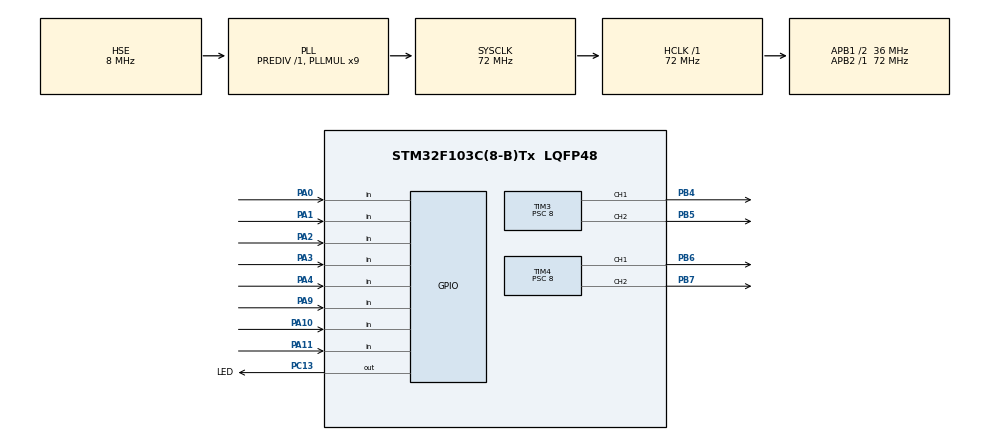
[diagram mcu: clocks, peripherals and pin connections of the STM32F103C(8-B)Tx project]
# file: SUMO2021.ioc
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Mcu.Family=STM32F1
Mcu.Name=STM32F103C(8-B)Tx
Mcu.Package=LQFP48
NVIC.PriorityGroup=NVIC_PRIORITYGROUP_4
NVIC.TIM2_IRQn=true\:0\:0\:false\:false\:true\:true\:true
PA0-WKUP.GPIO_PuPd=GPIO_PULLDOWN
PA0-WKUP.Signal=GPIO_Input
PA1.Signal=GPIO_Input
PA10.GPIO_PuPd=GPIO_NOPULL
PA10.Signal=GPIO_Input
PA11.GPIO_PuPd=GPIO_NOPULL
PA11.Signal=GPIO_Input
PA13.Mode=Serial_Wire
PA13.Signal=SYS_JTMS-SWDIO
PA14.Mode=Serial_Wire
PA14.Signal=SYS_JTCK-SWCLK
PA2.Signal=GPIO_Input
PA3.Signal=GPIO_Input
PA4.Signal=GPIO_Input
PA9.GPIO_PuPd=GPIO_NOPULL
PA9.Signal=GPIO_Input
PB4.Signal=S_TIM3_CH1
PB5.Signal=S_TIM3_CH2
PB6.Signal=S_TIM4_CH1
PB7.Signal=S_TIM4_CH2
PC13-TAMPER-RTC.GPIO_Label=LED
PC13-TAMPER-RTC.Signal=GPIO_Output
PD0-OSC_IN.Mode=HSE-External-Oscillator
PD0-OSC_IN.Signal=RCC_OSC_IN
PD1-OSC_OUT.Mode=HSE-External-Oscillator
PD1-OSC_OUT.Signal=RCC_OSC_OUT
ProjectManager.HeapSize=0x200
ProjectManager.StackSize=0x400
ProjectManager.TargetToolchain=MDK-ARM V5.27
RCC.AHBFreq_Value=72000000
RCC.APB1CLKDivider=RCC_HCLK_DIV2
RCC.APB1Freq_Value=36000000
RCC.APB1TimFreq_Value=72000000
RCC.APB2Freq_Value=72000000
RCC.APB2TimFreq_Value=72000000
RCC.HCLKFreq_Value=72000000
RCC.PLLMUL=RCC_PLL_MUL9
RCC.PLLSourceVirtual=RCC_PLLSOURCE_HSE
RCC.SYSCLKFreq_VALUE=72000000
RCC.SYSCLKSource=RCC_SYSCLKSOURCE_PLLCLK
RCC.USBFreq_Value=72000000
SH.S_TIM3_CH1.0=TIM3_CH1,PWM Generation1 CH1
SH.S_TIM3_CH2.0=TIM3_CH2,PWM Generation2 CH2
SH.S_TIM4_CH1.0=TIM4_CH1,PWM Generation1 CH1
SH.S_TIM4_CH2.0=TIM4_CH2,PWM Generation2 CH2
TIM2.Period=1
TIM2.Prescaler=7200
TIM2.TIM_MasterOutputTrigger=TIM_TRGO_UPDATE
TIM3.Channel-PWM\ Generation1\ CH1=TIM_CHANNEL_1
TIM3.Channel-PWM\ Generation2\ CH2=TIM_CHANNEL_2
TIM3.Period=100
TIM3.Prescaler=8
TIM4.Channel-PWM\ Generation1\ CH1=TIM_CHANNEL_1
TIM4.Channel-PWM\ Generation2\ CH2=TIM_CHANNEL_2
TIM4.Period=100
TIM4.Prescaler=8
VP_TIM2_VS_ClockSourceINT.Mode=Internal
board=custom

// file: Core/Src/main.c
/* USER CODE BEGIN Header */
/**
  ******************************************************************************
  * @file           : main.c
  * @brief          : Main program body
  ******************************************************************************
  * @attention
  *
  * <h2><center>&copy; Copyright (c) 2021 STMicroelectronics.
  * All rights reserved.</center></h2>
  *
  * This software component is licensed by ST under BSD 3-Clause license,
  * the "License"; You may not use this file except in compliance with the
  * License. You may obtain a copy of the License at:
  *                        opensource.org/licenses/BSD-3-Clause
  *
  ******************************************************************************
  */
/* USER CODE END Header */
#include "main.h"

/* USER CODE BEGIN Includes */
#define speed_fast 100
#define speed_slow 60
#define speed_backward 100
#define speed_turn 60
#define speed_turn_1_wheel 100

#define L_positive 1 //do line
#define L_negative 0

#define D_positive 1 //do duong
#define D_negative 0

#define B_positive 1 //button
#define B_negative 0
/* USER CODE END Includes */

/* USER CODE BEGIN PTD */
uint8_t d[3] = {1}; //CAM BIEN DO LINE, TICH CUC CAO
uint8_t u[5] = {1}; //CAM BIEN DO DUONG, TICH CUC CAO
uint8_t i;
/* USER CODE END PTD */

/* USER CODE BEGIN PD */

//do duong
//			---2-3---
//			1       4
//      ----0----

//do line
//			1-------2
//			|       |
//      0-------0

/* USER CODE END PD */

TIM_HandleTypeDef htim2;
TIM_HandleTypeDef htim3;
TIM_HandleTypeDef htim4;

void SystemClock_Config(void);
static void MX_GPIO_Init(void);
static void MX_TIM3_Init(void);
static void MX_TIM4_Init(void);
static void MX_TIM2_Init(void);

/* USER CODE BEGIN 0 */
											//CODE DI CHUYEN
void stop()
{
	htim3.Instance->CCR1 = 0;
	htim3.Instance->CCR2 = 0;
	htim4.Instance->CCR1 = 0;
	htim4.Instance->CCR2 = 0;
}
void fast_forward()
{
	htim3.Instance->CCR2 = 100;
	htim3.Instance->CCR1 = 0;
	htim4.Instance->CCR1 = 92;
	htim4.Instance->CCR2 = 0;
}

void slow_forward()
{
	htim3.Instance->CCR2 = 80;
	htim3.Instance->CCR1 = 0;
	htim4.Instance->CCR1 = 50;
	htim4.Instance->CCR2 = 0;
}

void backward()
{
	htim3.Instance->CCR1 = 70;
	htim3.Instance->CCR2 = 0;
	htim4.Instance->CCR2 = 60;
	htim4.Instance->CCR1 = 0;
}

void turn_R()
{
	htim3.Instance->CCR1 = 70;
	htim3.Instance->CCR2 = 0;
	htim4.Instance->CCR1 = 60;
	htim4.Instance->CCR2 = 0;
}

void turn_L()
{
	htim3.Instance->CCR2 = 70;
	htim3.Instance->CCR1 = 0;
	htim4.Instance->CCR2 = 60;
	htim4.Instance->CCR1 = 0;
}

void turn_R_1()
{
	htim3.Instance->CCR1 = 100;
	htim3.Instance->CCR2 = 0;
	htim4.Instance->CCR1 = 50;
	htim4.Instance->CCR2 = 0;
}

void turn_L_1()
{
	htim3.Instance->CCR2 = 90;
	htim3.Instance->CCR1 = 0;
	htim4.Instance->CCR2 = 60;
	htim4.Instance->CCR1 = 0;
}

void turn_L_1_wheel()
{
	htim3.Instance->CCR2 = speed_turn_1_wheel;
	htim3.Instance->CCR1 = 0;
	htim4.Instance->CCR1 = 0;
	htim4.Instance->CCR2 = 0;
}

void turn_R_1_wheel()
{
	htim3.Instance->CCR1 = 0;
	htim3.Instance->CCR2 = 0;
	htim4.Instance->CCR2 = 0;
	htim4.Instance->CCR1 = speed_turn_1_wheel;
}

										//CODE BAT LINE

int catch_line()
{
	for(i=0; i<3; i++)
	{
		if(d[i] == 0)
			return 1;
	}
	return 0;
}

/* USER CODE END 0 */

int main(void)
{

  /* MCU Configuration--------------------------------------------------------*/

  /* Reset of all peripherals, Initializes the Flash interface and the Systick. */
  HAL_Init();

  /* Configure the system clock */
  SystemClock_Config();

  /* Initialize all configured peripherals */
  MX_GPIO_Init();
  MX_TIM3_Init();
  MX_TIM4_Init();
  MX_TIM2_Init();
  /* USER CODE BEGIN 2 */
	HAL_TIM_Base_Start_IT(&htim2); 									//KHOI TAO TIMER
	HAL_TIM_PWM_Start(&htim3, TIM_CHANNEL_1);				//KHOI TAO CAC CHAN PWM CHO MOTOR DC
	HAL_TIM_PWM_Start(&htim3, TIM_CHANNEL_2);				//timer 3 : banh phai (2-1)
	HAL_TIM_PWM_Start(&htim4, TIM_CHANNEL_1);			  //timer 4 : banh trai (1-2)
	HAL_TIM_PWM_Start(&htim4, TIM_CHANNEL_2);
  /* USER CODE END 2 */

  /* Infinite loop */
  while (1)
  {

    /* USER CODE BEGIN 3 */
//		if(d[0] == 0)
//		{
//			fast_forward();
//		}
		if(d[1] == 0) //queo phai 120 do
		{
			HAL_GPIO_WritePin(LED_GPIO_Port, LED_Pin, 0);
//			stop();
//			HAL_Delay(10);
			backward();
			HAL_Delay(120);
			turn_R();
			HAL_Delay(400);
		}
		if(d[2] == 0) //queo trai 120 do
		{
			HAL_GPIO_WritePin(LED_GPIO_Port, LED_Pin, 0);
//			stop();
//			HAL_Delay(10);
			backward();
			HAL_Delay(120);
			turn_L();
			HAL_Delay(400);
		}
		if(d[1] == 1 && d[2] == 1 && d[0] == 1)
		{
			HAL_GPIO_WritePin(LED_GPIO_Port, LED_Pin, 1);
			slow_forward();
		}
		if(d[1] == 1 && d[2] == 1 && d[0] == 0)
		{
			HAL_GPIO_WritePin(LED_GPIO_Port, LED_Pin, 0);
			fast_forward();
		}
		if(!catch_line())
		{
			if((u[2] == 0) && (u[3] == 0))
			{
				fast_forward();
			}
			else
			{
				if(u[1] == 0 && u[2] == 1 && u[3] == 1)
				{
//					while((u[2] == 1) && (u[3] == 1))
//					{
//						turn_L();
//					}
					turn_L();
					HAL_Delay(420);
				}
				if(u[4] == 0 && u[3] == 1 && u[2] == 1)
				{
//					while((u[2] == 1) && (u[3] == 1))
//					{
//						turn_R();
//					}
					turn_R();
					HAL_Delay(400);
				}
				if(u[2] == 0 && u[3] == 1)
				{
					turn_L();
					HAL_Delay(80);
				}
				if(u[2] == 1 && u[3] == 0)
				{
					turn_R();
					HAL_Delay(90);
				}
				if(u[2] == 1 && u[3] == 1 && u[1] == 1 && u[4] == 1)
				{
					slow_forward();
				}
				if(u[0] == 1)
				{
					backward();
					HAL_Delay(200);
				}
			}
		}
  }
  /* USER CODE END 3 */
}

void SystemClock_Config(void)
{
  RCC_OscInitTypeDef RCC_OscInitStruct = {0};
  RCC_ClkInitTypeDef RCC_ClkInitStruct = {0};

  /** Initializes the RCC Oscillators according to the specified parameters
  * in the RCC_OscInitTypeDef structure.
  */
  RCC_OscInitStruct.OscillatorType = RCC_OSCILLATORTYPE_HSE;
  RCC_OscInitStruct.HSEState = RCC_HSE_ON;
  RCC_OscInitStruct.HSEPredivValue = RCC_HSE_PREDIV_DIV1;
  RCC_OscInitStruct.HSIState = RCC_HSI_ON;
  RCC_OscInitStruct.PLL.PLLState = RCC_PLL_ON;
  RCC_OscInitStruct.PLL.PLLSource = RCC_PLLSOURCE_HSE;
  RCC_OscInitStruct.PLL.PLLMUL = RCC_PLL_MUL9;
  if (HAL_RCC_OscConfig(&RCC_OscInitStruct) != HAL_OK)
  {
    Error_Handler();
  }
  /** Initializes the CPU, AHB and APB buses clocks
  */
  RCC_ClkInitStruct.ClockType = RCC_CLOCKTYPE_HCLK|RCC_CLOCKTYPE_SYSCLK
                              |RCC_CLOCKTYPE_PCLK1|RCC_CLOCKTYPE_PCLK2;
  RCC_ClkInitStruct.SYSCLKSource = RCC_SYSCLKSOURCE_PLLCLK;
  RCC_ClkInitStruct.AHBCLKDivider = RCC_SYSCLK_DIV1;
  RCC_ClkInitStruct.APB1CLKDivider = RCC_HCLK_DIV2;
  RCC_ClkInitStruct.APB2CLKDivider = RCC_HCLK_DIV1;

  if (HAL_RCC_ClockConfig(&RCC_ClkInitStruct, FLASH_LATENCY_2) != HAL_OK)
  {
    Error_Handler();
  }
}

static void MX_TIM2_Init(void)
{

  TIM_ClockConfigTypeDef sClockSourceConfig = {0};
  TIM_MasterConfigTypeDef sMasterConfig = {0};

  htim2.Instance = TIM2;
  htim2.Init.Prescaler = 7200;
  htim2.Init.CounterMode = TIM_COUNTERMODE_UP;
  htim2.Init.Period = 1;
  htim2.Init.ClockDivision = TIM_CLOCKDIVISION_DIV1;
  htim2.Init.AutoReloadPreload = TIM_AUTORELOAD_PRELOAD_DISABLE;
  if (HAL_TIM_Base_Init(&htim2) != HAL_OK)
  {
    Error_Handler();
  }
  sClockSourceConfig.ClockSource = TIM_CLOCKSOURCE_INTERNAL;
  if (HAL_TIM_ConfigClockSource(&htim2, &sClockSourceConfig) != HAL_OK)
  {
    Error_Handler();
  }
  sMasterConfig.MasterOutputTrigger = TIM_TRGO_UPDATE;
  sMasterConfig.MasterSlaveMode = TIM_MASTERSLAVEMODE_DISABLE;
  if (HAL_TIMEx_MasterConfigSynchronization(&htim2, &sMasterConfig) != HAL_OK)
  {
    Error_Handler();
  }

}

static void MX_TIM3_Init(void)
{

  TIM_MasterConfigTypeDef sMasterConfig = {0};
  TIM_OC_InitTypeDef sConfigOC = {0};

  htim3.Instance = TIM3;
  htim3.Init.Prescaler = 8;
  htim3.Init.CounterMode = TIM_COUNTERMODE_UP;
  htim3.Init.Period = 100;
  htim3.Init.ClockDivision = TIM_CLOCKDIVISION_DIV1;
  htim3.Init.AutoReloadPreload = TIM_AUTORELOAD_PRELOAD_DISABLE;
  if (HAL_TIM_PWM_Init(&htim3) != HAL_OK)
  {
    Error_Handler();
  }
  sMasterConfig.MasterOutputTrigger = TIM_TRGO_RESET;
  sMasterConfig.MasterSlaveMode = TIM_MASTERSLAVEMODE_DISABLE;
  if (HAL_TIMEx_MasterConfigSynchronization(&htim3, &sMasterConfig) != HAL_OK)
  {
    Error_Handler();
  }
  sConfigOC.OCMode = TIM_OCMODE_PWM1;
  sConfigOC.Pulse = 0;
  sConfigOC.OCPolarity = TIM_OCPOLARITY_HIGH;
  sConfigOC.OCFastMode = TIM_OCFAST_DISABLE;
  if (HAL_TIM_PWM_ConfigChannel(&htim3, &sConfigOC, TIM_CHANNEL_1) != HAL_OK)
  {
    Error_Handler();
  }
  if (HAL_TIM_PWM_ConfigChannel(&htim3, &sConfigOC, TIM_CHANNEL_2) != HAL_OK)
  {
    Error_Handler();
  }
  HAL_TIM_MspPostInit(&htim3);

}

static void MX_TIM4_Init(void)
{

  TIM_MasterConfigTypeDef sMasterConfig = {0};
  TIM_OC_InitTypeDef sConfigOC = {0};

  htim4.Instance = TIM4;
  htim4.Init.Prescaler = 8;
  htim4.Init.CounterMode = TIM_COUNTERMODE_UP;
  htim4.Init.Period = 100;
  htim4.Init.ClockDivision = TIM_CLOCKDIVISION_DIV1;
  htim4.Init.AutoReloadPreload = TIM_AUTORELOAD_PRELOAD_DISABLE;
  if (HAL_TIM_PWM_Init(&htim4) != HAL_OK)
  {
    Error_Handler();
  }
  sMasterConfig.MasterOutputTrigger = TIM_TRGO_RESET;
  sMasterConfig.MasterSlaveMode = TIM_MASTERSLAVEMODE_DISABLE;
  if (HAL_TIMEx_MasterConfigSynchronization(&htim4, &sMasterConfig) != HAL_OK)
  {
    Error_Handler();
  }
  sConfigOC.OCMode = TIM_OCMODE_PWM1;
  sConfigOC.Pulse = 0;
  sConfigOC.OCPolarity = TIM_OCPOLARITY_HIGH;
  sConfigOC.OCFastMode = TIM_OCFAST_DISABLE;
  if (HAL_TIM_PWM_ConfigChannel(&htim4, &sConfigOC, TIM_CHANNEL_1) != HAL_OK)
  {
    Error_Handler();
  }
  if (HAL_TIM_PWM_ConfigChannel(&htim4, &sConfigOC, TIM_CHANNEL_2) != HAL_OK)
  {
    Error_Handler();
  }
  HAL_TIM_MspPostInit(&htim4);

}

static void MX_GPIO_Init(void)
{
  GPIO_InitTypeDef GPIO_InitStruct = {0};

  /* GPIO Ports Clock Enable */
  __HAL_RCC_GPIOC_CLK_ENABLE();
  __HAL_RCC_GPIOD_CLK_ENABLE();
  __HAL_RCC_GPIOA_CLK_ENABLE();
  __HAL_RCC_GPIOB_CLK_ENABLE();

  /*Configure GPIO pin Output Level */
  HAL_GPIO_WritePin(LED_GPIO_Port, LED_Pin, GPIO_PIN_RESET);

  /*Configure GPIO pin : LED_Pin */
  GPIO_InitStruct.Pin = LED_Pin;
  GPIO_InitStruct.Mode = GPIO_MODE_OUTPUT_PP;
  GPIO_InitStruct.Pull = GPIO_NOPULL;
  GPIO_InitStruct.Speed = GPIO_SPEED_FREQ_LOW;
  HAL_GPIO_Init(LED_GPIO_Port, &GPIO_InitStruct);

  /*Configure GPIO pin : PA0 */
  GPIO_InitStruct.Pin = GPIO_PIN_0;
  GPIO_InitStruct.Mode = GPIO_MODE_INPUT;
  GPIO_InitStruct.Pull = GPIO_PULLDOWN;
  HAL_GPIO_Init(GPIOA, &GPIO_InitStruct);

  /*Configure GPIO pins : PA1 PA2 PA3 PA4
                           PA9 PA10 PA11 */
  GPIO_InitStruct.Pin = GPIO_PIN_1|GPIO_PIN_2|GPIO_PIN_3|GPIO_PIN_4
                          |GPIO_PIN_9|GPIO_PIN_10|GPIO_PIN_11;
  GPIO_InitStruct.Mode = GPIO_MODE_INPUT;
  GPIO_InitStruct.Pull = GPIO_NOPULL;
  HAL_GPIO_Init(GPIOA, &GPIO_InitStruct);

}

/* USER CODE BEGIN 4 */
void HAL_TIM_PeriodElapsedCallback(TIM_HandleTypeDef *htim)
{
  /* Prevent unused argument(s) compilation warning */
  UNUSED(htim);

  /* NOTE : This function should not be modified, when the callback is needed,
            the HAL_TIM_PeriodElapsedCallback could be implemented in the user file
   */

	d[0] = HAL_GPIO_ReadPin(GPIOA, GPIO_PIN_9);
	d[1] = HAL_GPIO_ReadPin(GPIOA, GPIO_PIN_11);
	d[2] = HAL_GPIO_ReadPin(GPIOA, GPIO_PIN_10);

	u[0] = HAL_GPIO_ReadPin(GPIOA, GPIO_PIN_0);
	u[1] = HAL_GPIO_ReadPin(GPIOA, GPIO_PIN_1);
	u[2] = HAL_GPIO_ReadPin(GPIOA, GPIO_PIN_3);
	u[3] = HAL_GPIO_ReadPin(GPIOA, GPIO_PIN_4);
	u[4] = HAL_GPIO_ReadPin(GPIOA, GPIO_PIN_2);

}
/* USER CODE END 4 */

void Error_Handler(void)
{
  __disable_irq();
  while (1)
  {
  }
}

/************************ (C) COPYRIGHT STMicroelectronics *****END OF FILE****/
